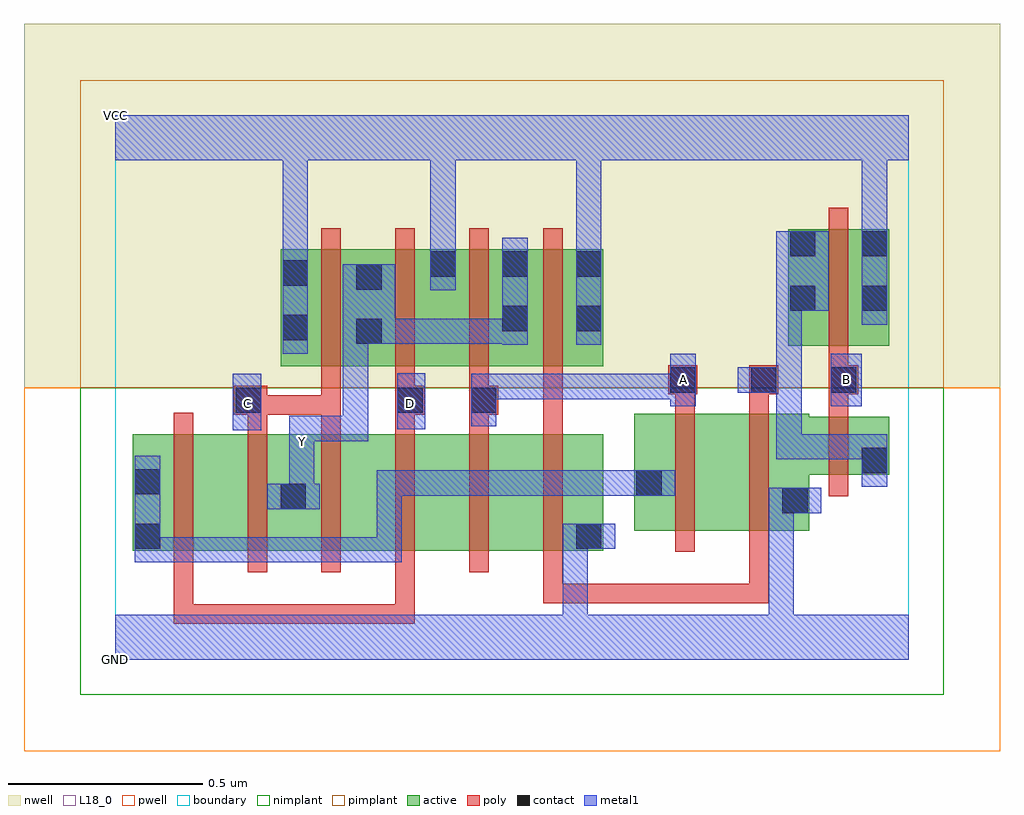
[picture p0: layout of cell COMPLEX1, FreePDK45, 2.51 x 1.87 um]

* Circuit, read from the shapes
.subckt COMPLEX1 A B C D GND VCC Y
M1 n1 D n2 VSUBS nfet w=0.3u l=0.05u
M2 Y C n1 VSUBS nfet w=0.3u l=0.05u
M3 n3 C Y VSUBS nfet w=0.3u l=0.05u
M4 n4 D n3 VSUBS nfet w=0.3u l=0.05u
M5 n5 A n4 VSUBS nfet w=0.3u l=0.05u
M6 GND n6 n5 VSUBS nfet w=0.3u l=0.05u
M7 n7 A n2 VSUBS nfet w=0.3u l=0.05u
M8 GND n6 n7 VSUBS nfet w=0.3u l=0.05u
M9 n6 B GND VSUBS nfet w=0.15u l=0.05u
M10 Y C VCC n8 pfet w=0.3u l=0.05u
M11 VCC D Y n8 pfet w=0.3u l=0.05u
M12 Y A VCC n8 pfet w=0.3u l=0.05u
M13 VCC n6 Y n8 pfet w=0.3u l=0.05u
M14 VCC B n6 n8 pfet w=0.3u l=0.05u
.ends

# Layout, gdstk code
import gdstk
lib = gdstk.Library(unit=1e-6, precision=1e-09)
def R(c, l, rs):  # rectangles x0, y0, x1, y1
    for r in rs: c.add(gdstk.rectangle(r[:2], r[2:], *l))
def A(c, l, x, y, w, h, nx, ny, dx, dy):  # array of equal rectangles
    R(c, l, [(x+i*dx, y+j*dy, x+i*dx+w, y+j*dy+h) for i in range(nx) for j in range(ny)])
active = (1, 0)
pwell = (2, 0)
nwell = (3, 0)
nimplant = (4, 0)
pimplant = (5, 0)
poly = (9, 0)
contact = (10, 0)
metal1 = (11, 0)
L18_0 = (18, 0)
boundary = (235, 0)

complex1 = lib.new_cell('COMPLEX1')
A(complex1, active, 0.425, 0.755, 0.075, 0.3, 3, 1, 0.19, 0)
R(complex1, active, [(0.045,0.28,0.27,0.58), (0.045,0.28,0.12,0.58), (0.27,0.28,0.495,0.58), (0.42,0.28,0.65,0.58), (0.65,0.28,0.84,0.58), (0.84,0.28,1.03,0.58), (1.03,0.28,1.255,0.58), (1.18,0.28,1.255,0.58), (0.42,0.33,0.495,0.517), (1.335,0.332,1.56,0.632), (1.335,0.332,1.41,0.632), (1.56,0.332,1.785,0.632), (1.71,0.372,1.785,0.475), (1.71,0.475,1.99,0.625), (1.915,0.475,1.99,0.625), (0.425,0.755,0.69,1.055), (0.615,0.755,0.88,1.055), (0.805,0.755,1.065,1.055), (0.99,0.755,1.065,1.055), (0.99,0.755,1.255,1.055), (1.18,0.755,1.255,1.055), (1.73,0.807,1.805,1.107), (1.73,0.807,1.99,1.107), (1.915,0.807,1.99,1.107)])
R(complex1, pwell, [(-0.235,-0.235,2.275,0.7)])
R(complex1, nwell, [(-0.235,0.7,2.275,1.635)])
R(complex1, nimplant, [(-0.09,-0.09,2.13,0.7)])
R(complex1, pimplant, [(-0.09,0.7,2.13,1.49)])
A(complex1, poly, 0.15, 0.225, 0.05, 0.41, 6, 1, 0.19, 0)
A(complex1, poly, 0.34, 0.585, 0.05, 0.095, 5, 1, 0.19, 0)
A(complex1, poly, 0.53, 0.7, 0.05, 0.41, 4, 1, 0.19, 0)
R(complex1, poly, [(0.15,0.092,0.2,0.142), (0.15,0.092,0.2,0.142), (0.15,0.092,0.2,0.142), (0.15,0.092,0.2,0.275), (0.15,0.092,0.447,0.142), (0.397,0.092,0.447,0.142), (0.397,0.092,0.447,0.142), (0.397,0.092,0.447,0.142), (0.397,0.092,0.58,0.142), (0.53,0.092,0.58,0.142), (0.53,0.092,0.77,0.142), (0.72,0.092,0.77,0.142), (0.72,0.092,0.77,0.142), (0.72,0.092,0.77,0.142), (0.72,0.092,0.77,0.275), (1.1,0.145,1.15,0.195), (1.1,0.145,1.15,0.195), (1.1,0.145,1.15,0.195), (1.1,0.145,1.34,0.195), (1.1,0.145,1.15,0.275), (1.29,0.145,1.34,0.195), (1.29,0.145,1.34,0.195), (1.29,0.145,1.34,0.195), (1.29,0.145,1.68,0.195), (1.63,0.145,1.68,0.327), (1.63,0.145,1.68,0.195), (1.63,0.145,1.68,0.195), (1.63,0.145,1.68,0.195), (1.44,0.277,1.49,0.687), (1.63,0.277,1.68,0.687), (1.835,0.42,1.885,0.68), (0.305,0.63,0.39,0.705), (0.34,0.63,0.58,0.68), (0.53,0.63,0.58,0.68), (0.53,0.63,0.58,0.68), (0.53,0.63,0.58,0.68), (0.53,0.63,0.58,0.75), (0.72,0.63,0.795,0.705), (0.91,0.63,0.985,0.705), (1.1,0.63,1.15,0.68), (1.1,0.63,1.15,0.75), (1.835,0.63,1.885,0.732), (1.44,0.637,1.49,0.732), (1.63,0.637,1.68,0.732), (0.72,0.655,0.77,0.75), (0.91,0.655,0.96,0.75), (1.422,0.682,1.497,0.757), (1.63,0.682,1.705,0.757), (1.835,0.682,1.91,0.757), (1.835,0.707,1.885,0.802), (1.835,0.752,1.885,1.162)])
R(complex1, contact, [(0.05,0.285,0.115,0.35), (1.185,0.285,1.25,0.35), (1.715,0.377,1.78,0.442), (0.425,0.387,0.49,0.452), (1.34,0.422,1.405,0.487), (0.05,0.425,0.115,0.49), (1.92,0.48,1.985,0.545), (0.31,0.635,0.375,0.7), (0.725,0.635,0.79,0.7), (0.915,0.635,0.98,0.7), (1.427,0.687,1.492,0.752), (1.635,0.687,1.7,0.752), (1.84,0.687,1.905,0.752), (0.62,0.812,0.685,0.877), (0.43,0.822,0.495,0.887), (0.995,0.845,1.06,0.91), (1.185,0.845,1.25,0.91), (1.735,0.897,1.8,0.962), (1.92,0.897,1.985,0.962), (0.62,0.952,0.685,1.017), (0.43,0.962,0.495,1.027), (0.81,0.985,0.875,1.05), (0.995,0.985,1.06,1.05), (1.185,0.985,1.25,1.05), (1.735,1.037,1.8,1.102), (1.92,1.037,1.985,1.102)])
R(complex1, metal1, [(0,0,2.04,0.115), (1.15,0.05,1.215,0.115), (1.15,0.05,1.215,0.115), (1.15,0.05,1.215,0.115), (1.15,0.05,1.215,0.115), (1.15,0.05,1.215,0.35), (1.68,0.05,1.745,0.115), (1.68,0.05,1.745,0.115), (1.68,0.05,1.745,0.442), (0.05,0.25,0.115,0.315), (0.05,0.25,0.115,0.315), (0.05,0.25,0.115,0.525), (0.05,0.25,0.317,0.315), (0.252,0.25,0.317,0.315), (0.252,0.25,0.317,0.315), (0.252,0.25,0.317,0.315), (0.252,0.25,0.317,0.315), (0.252,0.25,0.317,0.315), (0.252,0.25,0.512,0.315), (0.447,0.25,0.512,0.315), (0.447,0.25,0.512,0.315), (0.447,0.25,0.512,0.315), (0.447,0.25,0.737,0.315), (0.672,0.25,0.737,0.315), (0.672,0.25,0.737,0.487), (1.15,0.285,1.285,0.35), (1.68,0.377,1.745,0.442), (1.68,0.377,1.745,0.442), (1.68,0.377,1.815,0.442), (0.39,0.387,0.525,0.452), (0.447,0.387,0.512,0.557), (0.672,0.422,0.737,0.487), (0.672,0.422,0.737,0.487), (0.672,0.422,0.737,0.487), (0.672,0.422,0.92,0.487), (0.855,0.422,0.92,0.487), (0.855,0.422,0.92,0.487), (0.855,0.422,0.92,0.487), (0.855,0.422,1.06,0.487), (0.995,0.422,1.06,0.487), (0.995,0.422,1.197,0.487), (1.132,0.422,1.197,0.487), (1.132,0.422,1.197,0.487), (1.132,0.422,1.197,0.487), (1.132,0.422,1.37,0.487), (1.305,0.422,1.44,0.487), (1.92,0.445,1.985,0.58), (0.447,0.492,0.512,0.627), (1.7,0.515,1.765,0.58), (1.7,0.515,1.985,0.58), (1.7,0.515,1.765,0.752), (1.92,0.515,1.985,0.58), (1.92,0.515,1.985,0.58), (0.447,0.562,0.512,0.627), (0.447,0.562,0.512,0.627), (0.447,0.562,0.65,0.627), (0.585,0.562,0.65,0.627), (0.585,0.562,0.65,0.877), (0.302,0.59,0.375,0.735), (0.725,0.592,0.797,0.737), (0.915,0.6,0.98,0.735), (1.427,0.652,1.492,0.787), (1.84,0.652,1.92,0.787), (0.915,0.67,1.06,0.735), (0.995,0.67,1.06,0.735), (0.995,0.67,1.232,0.735), (1.167,0.67,1.232,0.735), (1.167,0.67,1.232,0.735), (1.167,0.67,1.232,0.735), (1.167,0.67,1.492,0.735), (1.427,0.67,1.492,0.735), (1.427,0.67,1.492,0.735), (1.6,0.687,1.735,0.752), (1.67,0.687,1.765,0.752), (1.7,0.687,1.765,0.752), (1.7,0.687,1.765,0.962), (0.43,0.787,0.495,1.062), (0.995,0.81,1.06,1.085), (1.185,0.81,1.25,1.085), (0.585,0.812,0.72,1.017), (0.655,0.812,0.72,0.877), (0.655,0.812,0.72,0.877), (0.655,0.812,0.922,0.877), (0.857,0.812,0.922,0.877), (0.857,0.812,1.06,0.877), (0.995,0.812,1.06,0.877), (0.995,0.812,1.06,0.877), (1.92,0.862,1.985,1.137), (1.7,0.897,1.835,1.102), (0.81,0.95,0.875,1.085), (0.43,0.997,0.495,1.062), (0.43,0.997,0.495,1.062), (0.43,0.997,0.495,1.35), (0.81,1.02,0.875,1.35), (1.185,1.02,1.25,1.085), (1.185,1.02,1.25,1.085), (1.185,1.02,1.25,1.35), (1.92,1.072,1.985,1.35), (0,1.285,2.04,1.4), (0.81,1.285,0.875,1.35), (0.81,1.285,0.875,1.35), (1.92,1.285,1.985,1.35), (1.92,1.285,1.985,1.35)])
R(complex1, L18_0, [(0,0,2.04,0.115), (1.15,0.05,1.215,0.115), (1.15,0.05,1.215,0.115), (1.15,0.05,1.215,0.115), (1.15,0.05,1.215,0.115), (1.15,0.05,1.215,0.35), (1.68,0.05,1.745,0.115), (1.68,0.05,1.745,0.115), (1.68,0.05,1.745,0.442), (1.15,0.285,1.285,0.35), (1.68,0.377,1.815,0.442), (1.68,0.377,1.745,0.442), (1.68,0.377,1.745,0.442), (0.39,0.387,0.525,0.452), (0.447,0.387,0.512,0.557), (0.447,0.492,0.512,0.627), (0.447,0.527,0.512,0.592), (0.447,0.562,0.512,0.627), (0.447,0.562,0.512,0.627), (0.447,0.562,0.65,0.627), (0.585,0.562,0.65,0.627), (0.585,0.562,0.65,0.877), (0.302,0.59,0.375,0.735), (0.725,0.592,0.797,0.737), (0.915,0.6,0.98,0.735), (0.307,0.627,0.372,0.692), (0.727,0.627,0.792,0.692), (1.427,0.652,1.492,0.787), (1.84,0.652,1.92,0.787), (0.915,0.67,1.06,0.735), (0.995,0.67,1.06,0.735), (0.995,0.67,1.232,0.735), (1.167,0.67,1.232,0.735), (1.167,0.67,1.232,0.735), (1.167,0.67,1.232,0.735), (1.167,0.67,1.492,0.735), (1.427,0.67,1.492,0.735), (1.427,0.67,1.492,0.735), (1.427,0.687,1.492,0.752), (1.847,0.687,1.912,0.752), (0.43,0.787,0.495,1.062), (0.995,0.81,1.06,1.085), (1.185,0.81,1.25,1.085), (0.585,0.812,0.72,1.017), (0.655,0.812,0.72,0.877), (0.655,0.812,0.72,0.877), (0.655,0.812,0.922,0.877), (0.857,0.812,0.922,0.877), (0.857,0.812,1.06,0.877), (0.995,0.812,1.06,0.877), (0.995,0.812,1.06,0.877), (1.92,0.862,1.985,1.137), (0.81,0.95,0.875,1.085), (0.43,0.997,0.495,1.062), (0.43,0.997,0.495,1.062), (0.43,0.997,0.495,1.35), (0.81,1.02,0.875,1.35), (1.185,1.02,1.25,1.085), (1.185,1.02,1.25,1.085), (1.185,1.02,1.25,1.35), (1.92,1.072,1.985,1.35), (0,1.285,2.04,1.4), (0.81,1.285,0.875,1.35), (0.81,1.285,0.875,1.35), (1.92,1.285,1.985,1.35), (1.92,1.285,1.985,1.35)])
R(complex1, boundary, [(0,0,2.04,1.4)])
complex1.add(gdstk.Label('A', (1.46,0.72), layer=11, texttype=0))
complex1.add(gdstk.Label('B', (1.88,0.72), layer=11, texttype=0))
complex1.add(gdstk.Label('C', (0.34,0.66), layer=11, texttype=0))
complex1.add(gdstk.Label('D', (0.76,0.66), layer=11, texttype=0))
complex1.add(gdstk.Label('Y', (0.48,0.56), layer=11, texttype=0))
complex1.add(gdstk.Label('VCC', (0,1.4), layer=11, texttype=0))
complex1.add(gdstk.Label('GND', (0,0), layer=11, texttype=0))

lib.write_gds('COMPLEX1.gds')
